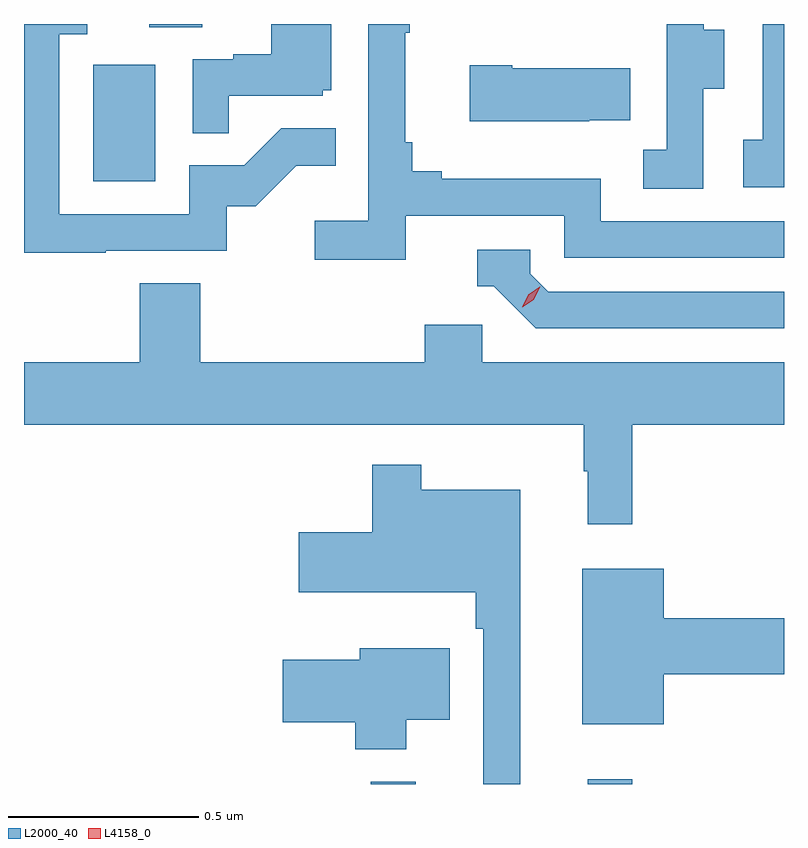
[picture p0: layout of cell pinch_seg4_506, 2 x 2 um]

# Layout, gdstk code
import gdstk
lib = gdstk.Library(unit=1e-6, precision=1e-09)
def R(c, l, rs):  # rectangles x0, y0, x1, y1
    for r in rs: c.add(gdstk.rectangle(r[:2], r[2:], *l))
def P(c, l, *ps):  # polygons
    for p in ps: c.add(gdstk.Polygon(p, *l))
L2000_40 = (2000, 40)
L4158_0 = (4158, 0)

pinch_seg4_506 = lib.new_cell('pinch_seg4_506')
R(pinch_seg4_506, L2000_40, [(974.353,763.906,974.471,763.912), (974.924,763.906,975.041,763.918), (973.622,765.492,973.786,765.799), (973.769,765.898,973.909,765.906)])
P(pinch_seg4_506, L2000_40, [(973.979,765.717),(974.226,765.717),(974.226,765.732),(974.248,765.732),(974.248,765.906),(974.09,765.906),(974.09,765.826),(973.991,765.826),(973.991,765.813),(973.884,765.813),(973.884,765.619),(973.979,765.619)],
  [(974.444,765.402),(974.862,765.402),(974.862,765.291),(975.44,765.291),(975.44,765.387),(974.958,765.387),(974.958,765.499),(974.539,765.499),(974.539,765.518),(974.462,765.518),(974.462,765.595),(974.443,765.595),(974.443,765.883),(974.455,765.883),(974.455,765.906),(974.346,765.906),(974.346,765.388),(974.205,765.388),(974.205,765.286),(974.444,765.286)],
  [(975.228,765.736),(975.283,765.736),(975.283,765.891),(975.229,765.891),(975.229,765.906),(975.131,765.906),(975.131,765.879),(975.132,765.879),(975.132,765.575),(975.069,765.575),(975.069,765.472),(975.228,765.472)],
  [(975.44,765.906),(975.384,765.906),(975.384,765.602),(975.333,765.602),(975.333,765.477),(975.44,765.477)],
  [(973.655,765.309),(973.974,765.309),(973.974,765.426),(974.05,765.426),(974.157,765.533),(974.261,765.533),(974.261,765.632),(974.117,765.632),(974.019,765.534),(973.875,765.534),(973.875,765.405),(973.533,765.405),(973.533,765.879),(973.606,765.879),(973.606,765.906),(973.44,765.906),(973.44,765.304),(973.655,765.304)],
  [(974.927,765.653),(975.035,765.653),(975.035,765.79),(974.725,765.79),(974.725,765.798),(974.613,765.798),(974.613,765.65),(974.927,765.65)],
  [(975.44,765.201),(974.82,765.201),(974.772,765.249),(974.772,765.312),(974.633,765.312),(974.633,765.216),(974.676,765.216),(974.787,765.105),(975.44,765.105)],
  [(975.041,764.852),(975.44,764.852),(975.44,765.016),(974.646,765.016),(974.646,765.114),(974.495,765.114),(974.495,765.016),(973.904,765.016),(973.904,765.224),(973.744,765.224),(973.744,765.016),(973.44,765.016),(973.44,764.852),(974.913,764.852),(974.913,764.729),(974.924,764.729),(974.924,764.589),(975.041,764.589)],
  [(974.746,764.68),(974.485,764.68),(974.485,764.746),(974.356,764.746),(974.356,764.569),(974.163,764.569),(974.163,764.411),(974.629,764.411),(974.629,764.315),(974.649,764.315),(974.649,763.906),(974.746,763.906)],
  [(975.124,764.195),(975.44,764.195),(975.44,764.342),(975.124,764.342),(975.124,764.473),(974.909,764.473),(974.909,764.063),(975.124,764.063)],
  [(974.446,764.075),(974.56,764.075),(974.56,764.263),(974.324,764.263),(974.324,764.233),(974.121,764.233),(974.121,764.068),(974.312,764.068),(974.312,763.997),(974.446,763.997)])
P(pinch_seg4_506, L4158_0, [(974.751,765.161),(974.751,765.161),(974.767,765.194),(974.797,765.214),(974.798,765.214),(974.798,765.214),(974.782,765.181),(974.751,765.161)])

lib.write_gds('pinch_seg4_506.gds')
